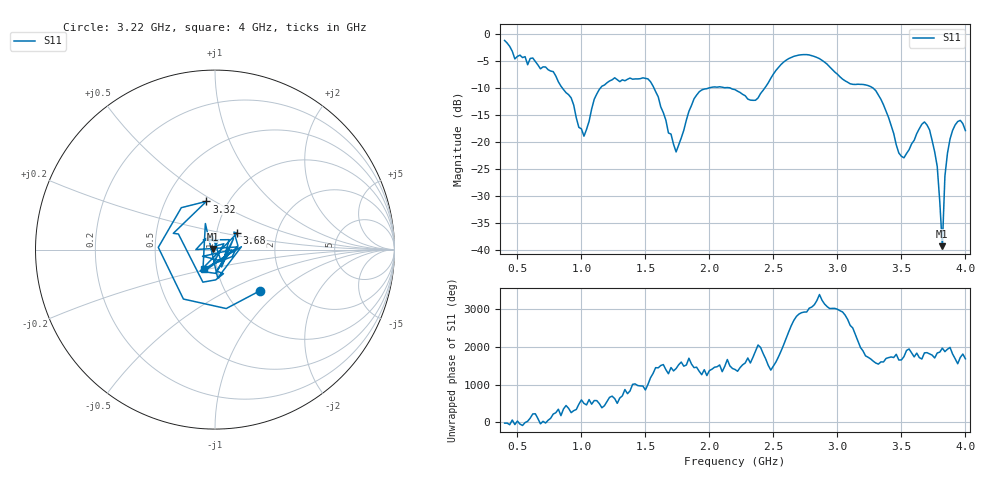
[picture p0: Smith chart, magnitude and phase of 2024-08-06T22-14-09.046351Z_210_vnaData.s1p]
!Created with skrf (http://scikit-rf.org).
# Hz S RI R 50.0
!freq ReS11 ImS11
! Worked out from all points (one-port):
!   181 points, 400 MHz to 4 GHz, reference 50 ohm
!   lowest |S11| = -39.4 dB at 3.82 GHz (marker M1), VSWR 1.02, Z = 49 + j0.339 ohm
!   |S11| at or under -10 dB: 852.1 MHz to 1.148 GHz (295.6 MHz wide, 29.6 % of centre); 1.567 GHz to 1.991 GHz (423.9 MHz wide, 23.8 % of centre); 3.28 GHz to end of sweep (the widest 3 of 4)
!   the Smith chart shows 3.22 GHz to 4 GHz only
!   S11 on the Smith chart (normalised r, x): 3.22 GHz: 1.44, -0.75; 3.32 GHz: 0.79, +0.46; 3.68 GHz: 1.26, +0.24; 4 GHz: 0.86, -0.19
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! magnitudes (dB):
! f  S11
! 400 MHz  -1.1
! 480 MHz  -4.6
! 620 MHz  -4.4
! 860 MHz  -10.2
! 1.02 GHz  -18.9
! 1.14 GHz  -10.2
! 1.3 GHz  -8.8
! 1.52 GHz  -8.3
! 1.74 GHz  -21.9
! 1.76 GHz  -20.6
! 1.92 GHz  -10.7
! 2.2 GHz  -10.3
! 2.36 GHz  -12.2
! 2.66 GHz  -4.1
! 2.86 GHz  -4.5
! 3.1 GHz  -9.2
! 3.22 GHz  -9.4
! 3.32 GHz  -11.3
! 3.48 GHz  -22.1
! 3.56 GHz  -21.4
! 3.68 GHz  -16.3
! 3.72 GHz  -17.7
! 3.78 GHz  -24.6
! 3.82 GHz  -39.4
! 3.84 GHz  -26.4
! 3.88 GHz  -19.5
! 3.94 GHz  -16.2
! 4 GHz  -17.9
